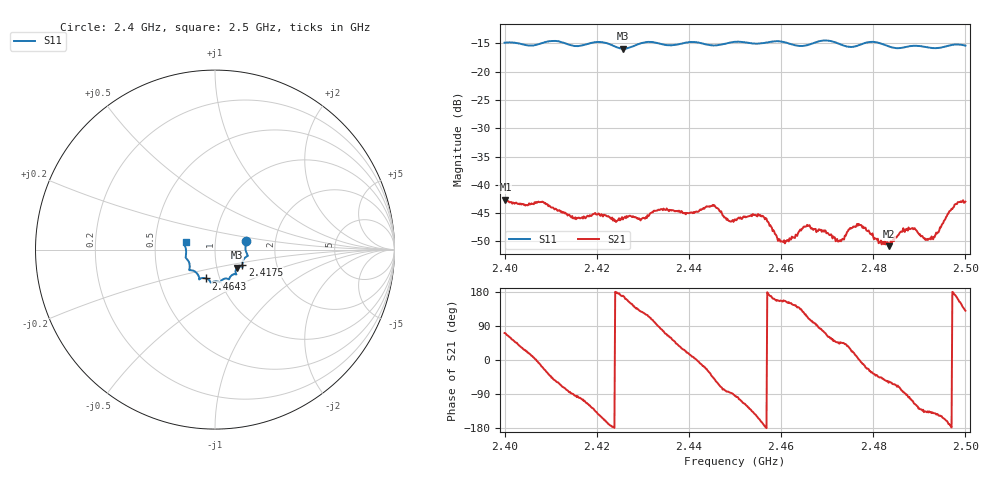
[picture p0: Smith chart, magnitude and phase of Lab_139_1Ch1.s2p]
# Hz S RI R
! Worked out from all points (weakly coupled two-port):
!   601 points, 2.4 GHz to 2.5 GHz, reference 50 ohm
!   highest |S21| = -42.60 dB at 2.4002 GHz (marker M1); lowest = -50.8 dB at 2.4833 GHz (marker M2)
!   lowest |S11| = -16.0 dB at 2.4257 GHz (marker M3), VSWR 1.38, Z = 62.5 - j13 ohm
!   |S11| at or under -10 dB: start of sweep to end of sweep
!   S12 and S22 are empty: the file has one direction only
!   S11 on the Smith chart (normalised r, x): 2.4 GHz: 1.41, +0.14; 2.4175 GHz: 1.33, -0.23; 2.4643 GHz: 0.86, -0.29; 2.5 GHz: 0.72, +0.06
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2.4e9  0.1732 0.0489  0.00238 0.00699  0 0  0 0
2.400167e9  0.1738 0.0482  0.00246 0.00699  0 0  0 0
2.408333e9  0.1786 -0.0236  0.0066 -0.00252  0 0  0 0
2.416667e9  0.1526 -0.074  -0.00112 -0.005  0 0  0 0
2.4175e9  0.1516 -0.0836  -0.00175 -0.00475  0 0  0 0
2.425667e9  0.1228 -0.1016  -0.00487 0.000892  0 0  0 0
2.43e9  0.1173 -0.1364  -0.00297 0.00415  0 0  0 0
2.433333e9  0.1136 -0.1367  9.7e-05 0.00604  0 0  0 0
2.439833e9  0.0795 -0.1632  0.00536 0.00174  0 0  0 0
2.445167e9  0.0545 -0.1615  0.0047 -0.00471  0 0  0 0
2.45e9  0.0291 -0.1811  -0.000439 -0.00494  0 0  0 0
2.455833e9  -0.00487 -0.1777  -0.00507 -0.00142  0 0  0 0
2.460333e9  -0.0249 -0.1817  -0.00284 0.00138  0 0  0 0
2.464333e9  -0.0495 -0.1608  -0.00274 0.00284  0 0  0 0
2.466667e9  -0.076 -0.1592  -0.000965 0.00404  0 0  0 0
2.472833e9  -0.0903 -0.1492  0.00222 0.00238  0 0  0 0
2.477e9  -0.1267 -0.116  0.00445 9.62e-06  0 0  0 0
2.483333e9  -0.1408 -0.09  0.00144 -0.00249  0 0  0 0
2.488167e9  -0.1609 -0.0489  -0.000943 -0.00398  0 0  0 0
2.492833e9  -0.1606 -0.0163  -0.00251 -0.00225  0 0  0 0
2.4975e9  -0.1705 0.03  -0.00636 0.00058  0 0  0 0
2.5e9  -0.1642 0.0427  -0.00459 0.00544  0 0  0 0
